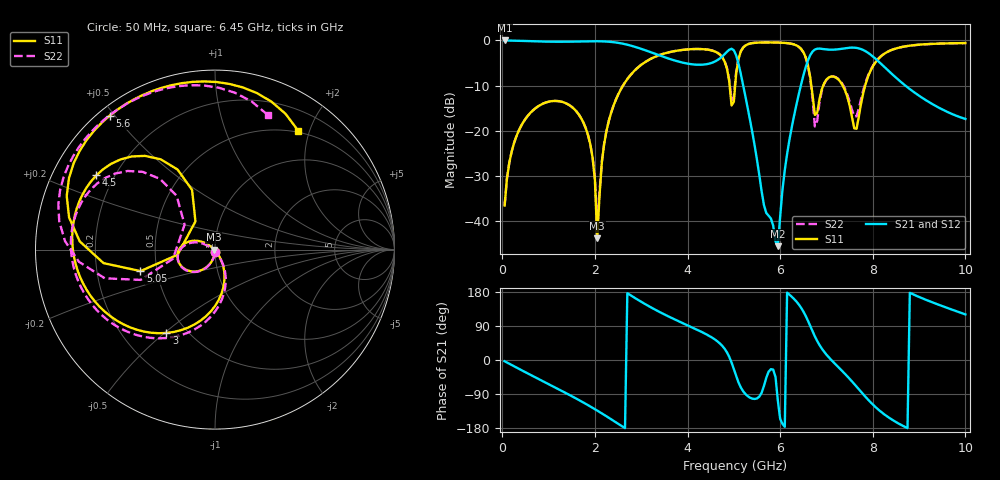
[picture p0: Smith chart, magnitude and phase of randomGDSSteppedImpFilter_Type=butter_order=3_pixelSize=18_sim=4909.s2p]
! freq	dB(S11)	phase(S11)	dB(S12)	phase(S12)
!  dB(S21)	phase(S21)	dB(S22)	phase(S22)
!S-par simulation data
#  GHz  S  DB  R 50
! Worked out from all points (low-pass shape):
!   200 points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, 50 MHz to 10 GHz, reference 50 ohm
!   highest |S21| = -0.01 dB at 50 MHz (marker M1); lowest = -45.5 dB at 5.95 GHz (marker M2)
!   |S21| within 3 dB of the highest: start of sweep to 3.312 GHz; 6.665 GHz to 7.935 GHz (1.27 GHz wide, 17.4 % of centre) (the widest 2 of 3)
!   lowest |S11| = -43.7 dB at 2.05 GHz (marker M3), VSWR 1.01, Z = 49.4 + j0.035 ohm
!   |S11| at or under -10 dB: start of sweep to 2.606 GHz; 6.674 GHz to 6.93 GHz (256.3 MHz wide, 3.77 % of centre); 7.353 GHz to 7.836 GHz (482.4 MHz wide, 6.35 % of centre) (the widest 3 of 4)
!   |S22| runs from -40.2 to -0.4 dB; largest |S21 - S12| = 0
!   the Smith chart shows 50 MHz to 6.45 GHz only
!   S11 on the Smith chart (normalised r, x): 50 MHz: 1.00, -0.03; 3 GHz: 0.39, -0.51; 4.5 GHz: 0.13, +0.28; 5.05 GHz: 0.40, -0.12; 5.6 GHz: 0.03, +0.48; 6.45 GHz: 0.48, +1.82
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0.05  -36.49 -92.7  -0.01 -3.3  -0.01 -3.3  -36.51 -92.7
0.6  -16.07 -129.7  -0.16 -38.7  -0.16 -38.7  -16.07 -128.5
1.75  -18.11 156.5  -0.21 -112.1  -0.21 -112.1  -18.11 161.2
1.95  -25.89 144.2  -0.18 -126.2  -0.18 -126.2  -25.87 152.3
2.05  -43.72 176.9  -0.18 -133.5  -0.18 -133.5  -40.19 -159.4
2.15  -26.90 -57.6  -0.20 -140.9  -0.20 -140.9  -26.74 -59.8
2.3  -17.78 -66.8  -0.29 -152.4  -0.29 -152.4  -17.75 -65.0
3  -5.39 -120.2  -1.86 153.6  -1.86 153.6  -5.38 -115.3
3.4  -3.21 -147.5  -3.34 126.5  -3.34 126.5  -3.20 -141.4
4.5  -2.16 147.9  -5.03 61.3  -5.03 61.3  -2.15 157.6
4.95  -14.37 124.7  -1.84 -6.5  -1.84 -6.5  -13.19 140.7
5.05  -7.29 -163.9  -3.29 -42.7  -3.29 -42.7  -7.00 -157.8
5.2  -1.59 167.6  -9.84 -82.3  -9.84 -82.3  -1.55 176.8
5.6  -0.45 128.2  -33.33 -86.5  -33.33 -86.5  -0.44 139.7
5.95  -0.47 104.7  -45.46 -107.2  -45.46 -107.2  -0.47 117.5
6.45  -1.84 55.1  -9.82 138.3  -9.82 138.3  -1.88 68.6
6.7  -12.09 21.2  -2.45 75.6  -2.45 75.6  -12.93 29.6
6.75  -16.46 43.9  -2.01 62.3  -2.01 62.3  -18.99 55.4
7.05  -8.17 85.2  -2.04 7.1  -2.04 7.1  -8.20 107.9
7.65  -19.53 111.1  -1.66 -70.3  -1.66 -70.3  -16.75 126.7
8.35  -2.36 96.9  -6.82 -152.2  -6.82 -152.2  -2.35 116.6
10  -0.59 12.1  -17.35 120.3  -17.35 120.3  -0.59 36.4
